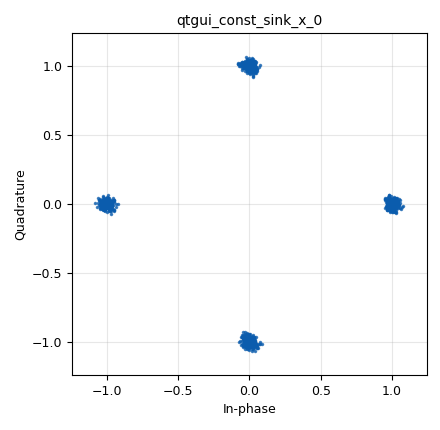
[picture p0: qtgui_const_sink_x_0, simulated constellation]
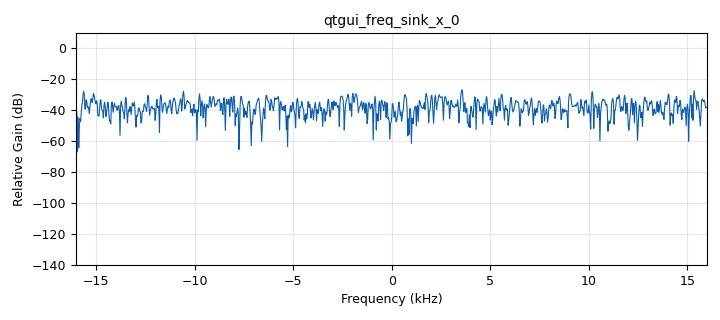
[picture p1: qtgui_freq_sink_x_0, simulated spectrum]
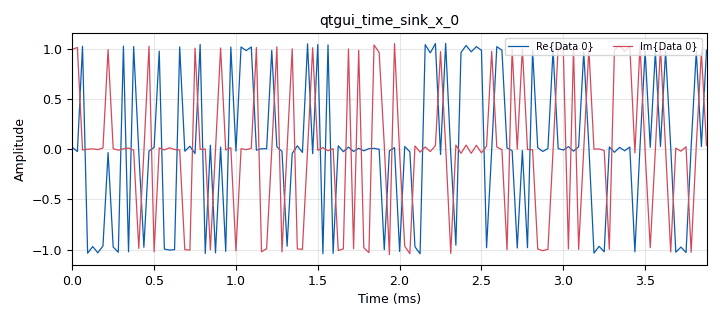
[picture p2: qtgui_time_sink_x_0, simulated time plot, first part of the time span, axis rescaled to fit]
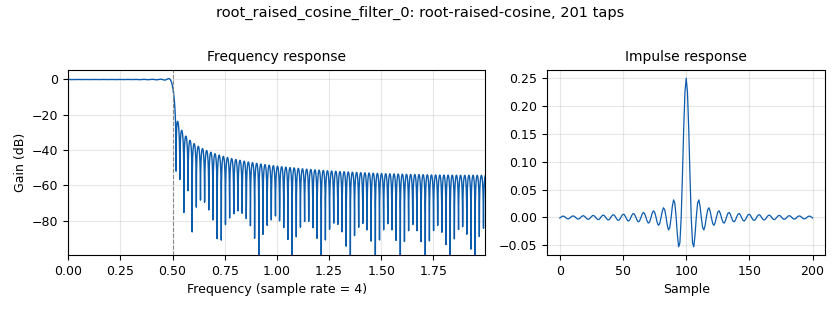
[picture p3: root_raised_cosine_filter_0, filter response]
options:
  parameters:
    author: tripp
    generate_options: qt_gui
    id: pskUpsamplingAndPulseShaping
    output_language: python
    title: PSK Generation
  states: {}

blocks:
- name: samp_rate
  id: variable
  parameters:
    value: '32000'
  states: {}
- name: analog_random_source_x_0
  id: analog_random_source_x
  parameters:
    max: '256'
    min: '0'
    num_samps: '1000'
    repeat: 'True'
    type: byte
  states: {}
- name: blocks_throttle_0
  id: blocks_throttle
  parameters:
    samples_per_second: samp_rate
    type: complex
  states: {}
- name: digital_psk_mod_0
  id: digital_psk_mod
  parameters:
    constellation_points: '4'
    differential: 'False'
    excess_bw: '0.02'
    mod_code: '"gray"'
    samples_per_symbol: '4'
  states: {}
- name: qtgui_const_sink_x_0
  id: qtgui_const_sink_x
  parameters:
    autoscale: 'True'
    size: '1024'
    type: complex
  states: {}
- name: qtgui_freq_sink_x_0
  id: qtgui_freq_sink_x
  parameters:
    bw: samp_rate
    fc: '0'
    fftsize: '1024'
    type: complex
    wintype: firdes.WIN_BLACKMAN_hARRIS
  states: {}
- name: qtgui_time_sink_x_0
  id: qtgui_time_sink_x
  parameters:
    size: '1024'
    srate: samp_rate
    type: complex
  states: {}
- name: root_raised_cosine_filter_0
  id: root_raised_cosine_filter
  parameters:
    alpha: '0.02'
    decim: '4'
    gain: '1'
    ntaps: '200'
    samp_rate: '4'
    sym_rate: '1.0'
    type: fir_filter_ccf
  states: {}

connections:
- [analog_random_source_x_0, '0', digital_psk_mod_0, '0']
- [blocks_throttle_0, '0', root_raised_cosine_filter_0, '0']
- [digital_psk_mod_0, '0', blocks_throttle_0, '0']
- [root_raised_cosine_filter_0, '0', qtgui_const_sink_x_0, '0']
- [root_raised_cosine_filter_0, '0', qtgui_freq_sink_x_0, '0']
- [root_raised_cosine_filter_0, '0', qtgui_time_sink_x_0, '0']

metadata:
  file_format: 1
